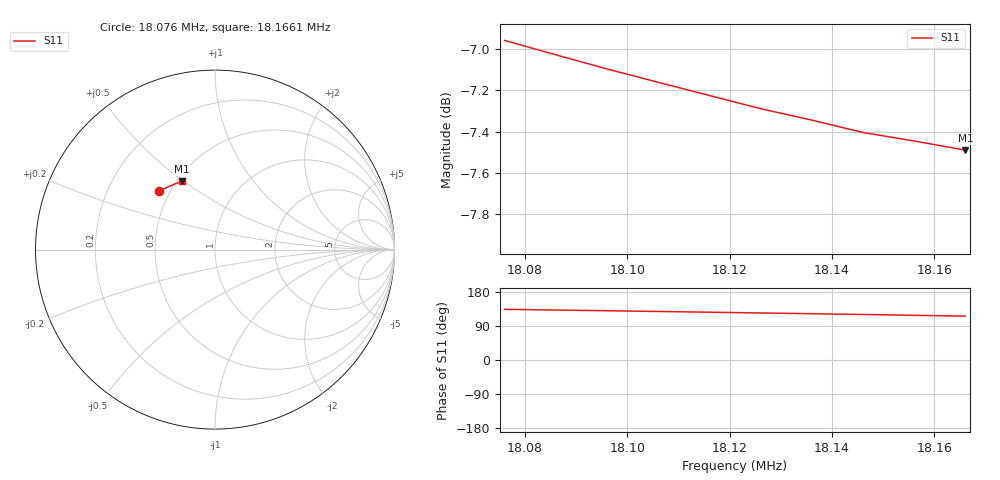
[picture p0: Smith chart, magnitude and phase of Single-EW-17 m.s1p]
# HZ S RI R 50
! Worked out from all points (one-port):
!   10 points, 18.076 MHz to 18.1661 MHz, reference 50 ohm
!   lowest |S11| = -7.5 dB at 18.1661 MHz (marker M1), VSWR 2.46, Z = 26.6 + j24.6 ohm
!   |S11| at or under -10 dB: nowhere
1.807603e7  -0.3103 0.3244
1.808603e7  -0.2972 0.3316
1.809604e7  -0.2838 0.3386
1.810604e7  -0.2704 0.3453
1.811604e7  -0.2566 0.3516
1.812605e7  -0.2425 0.3576
1.813605e7  -0.2285 0.3635
1.814606e7  -0.214 0.3688
1.815606e7  -0.1984 0.3751
1.816606e7  -0.1838 0.3801
